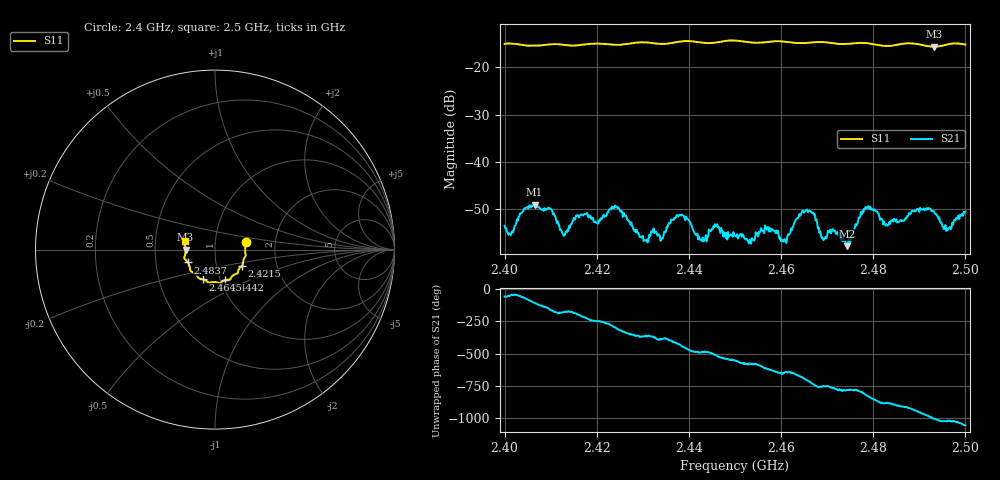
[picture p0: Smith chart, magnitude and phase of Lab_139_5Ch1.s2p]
# Hz S RI R 50
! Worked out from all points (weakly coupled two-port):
!   601 points, 2.4 GHz to 2.5 GHz, reference 50 ohm
!   highest |S21| = -48.99 dB at 2.4065 GHz (marker M1); lowest = -57.7 dB at 2.4743 GHz (marker M2)
!   lowest |S11| = -15.7 dB at 2.4932 GHz (marker M3), VSWR 1.39, Z = 35.9 - j0.0507 ohm
!   |S11| at or under -10 dB: start of sweep to end of sweep
!   S12 and S22 are empty: the file has one direction only
!   S11 on the Smith chart (normalised r, x): 2.4 GHz: 1.41, +0.12; 2.4215 GHz: 1.33, -0.25; 2.4442 GHz: 1.05, -0.37; 2.4645 GHz: 0.83, -0.29; 2.4837 GHz: 0.73, -0.11; 2.5 GHz: 0.71, +0.07
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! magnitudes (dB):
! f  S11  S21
! 2.4 GHz  -15.1  -53.4
! 2.4065 GHz  -15.5  -49.0
! 2.413 GHz  -15.3  -55.4
! 2.4167 GHz  -15.3  -51.0
! 2.4215 GHz  -15.1  -51.1
! 2.4243 GHz  -15.3  -49.4
! 2.4307 GHz  -14.8  -56.5
! 2.4333 GHz  -15.1  -55.3
! 2.4383 GHz  -14.6  -51.3
! 2.4442 GHz  -15.0  -55.7
! 2.45 GHz  -14.4  -55.5
! 2.4607 GHz  -14.6  -56.3
! 2.4645 GHz  -15.0  -50.5
! 2.4667 GHz  -14.8  -50.7
! 2.4692 GHz  -14.7  -56.5
! 2.4743 GHz  -15.1  -57.7
! 2.4785 GHz  -14.9  -49.8
! 2.4833 GHz  -15.6  -53.3
! 2.4837 GHz  -15.5  -53.0
! 2.4932 GHz  -15.7  -50.4
! 2.4963 GHz  -15.2  -54.0
! 2.5 GHz  -15.3  -50.5
